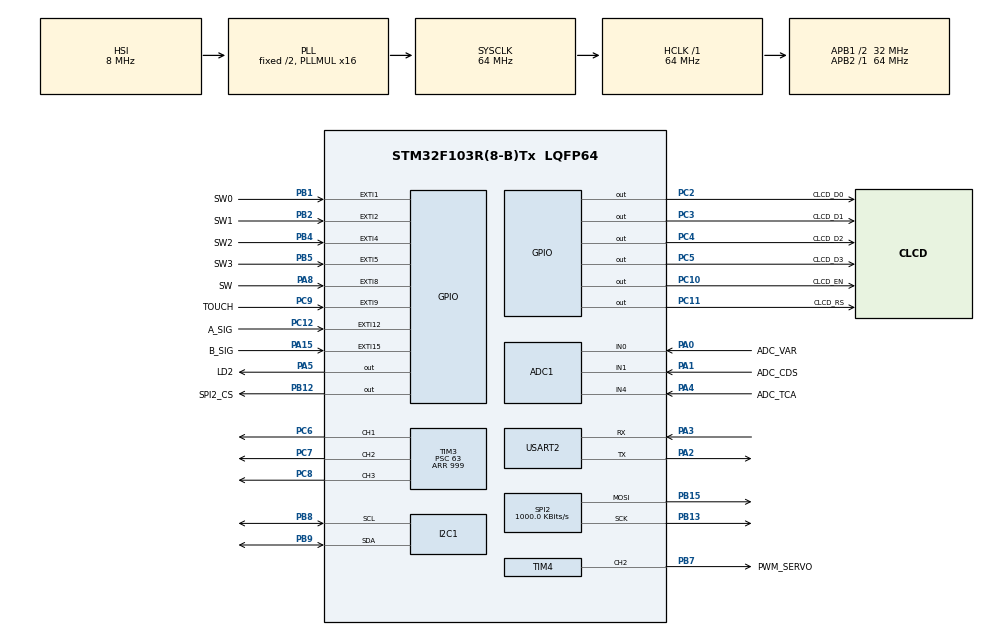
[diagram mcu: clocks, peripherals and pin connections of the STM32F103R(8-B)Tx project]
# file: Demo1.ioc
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ADC1.Channel-1\#ChannelRegularConversion=ADC_CHANNEL_0
ADC1.Channel-2\#ChannelRegularConversion=ADC_CHANNEL_1
ADC1.Channel-3\#ChannelRegularConversion=ADC_CHANNEL_4
ADC1.ContinuousConvMode=ENABLE
ADC1.NbrOfConversion=3
ADC1.NbrOfConversionFlag=1
ADC1.Rank-1\#ChannelRegularConversion=1
ADC1.Rank-2\#ChannelRegularConversion=2
ADC1.Rank-3\#ChannelRegularConversion=3
ADC1.SamplingTime-1\#ChannelRegularConversion=ADC_SAMPLETIME_239CYCLES_5
ADC1.SamplingTime-2\#ChannelRegularConversion=ADC_SAMPLETIME_239CYCLES_5
ADC1.SamplingTime-3\#ChannelRegularConversion=ADC_SAMPLETIME_239CYCLES_5
ADC1.master=1
Dma.ADC1.0.Direction=DMA_PERIPH_TO_MEMORY
Dma.ADC1.0.Instance=DMA1_Channel1
Dma.ADC1.0.MemDataAlignment=DMA_MDATAALIGN_HALFWORD
Dma.ADC1.0.MemInc=DMA_MINC_ENABLE
Dma.ADC1.0.Mode=DMA_CIRCULAR
Dma.ADC1.0.PeriphDataAlignment=DMA_PDATAALIGN_HALFWORD
Dma.ADC1.0.PeriphInc=DMA_PINC_DISABLE
Dma.ADC1.0.Priority=DMA_PRIORITY_LOW
Dma.Request0=ADC1
I2C1.I2C_Mode=I2C_Fast
Mcu.Family=STM32F1
Mcu.Name=STM32F103R(8-B)Tx
Mcu.Package=LQFP64
NVIC.DMA1_Channel1_IRQn=true\:0\:0\:false\:false\:true\:false\:true
NVIC.EXTI15_10_IRQn=true\:0\:0\:false\:false\:true\:true\:true
NVIC.EXTI1_IRQn=true\:0\:0\:false\:false\:true\:true\:true
NVIC.EXTI2_IRQn=true\:0\:0\:false\:false\:true\:true\:true
NVIC.EXTI4_IRQn=true\:0\:0\:false\:false\:true\:true\:true
NVIC.EXTI9_5_IRQn=true\:0\:0\:false\:false\:true\:true\:true
NVIC.PriorityGroup=NVIC_PRIORITYGROUP_4
PA0-WKUP.GPIO_Label=ADC_VAR
PA0-WKUP.Signal=ADCx_IN0
PA1.GPIO_Label=ADC_CDS
PA1.Signal=ADCx_IN1
PA13.Mode=Serial_Wire
PA13.Signal=SYS_JTMS-SWDIO
PA14.Mode=Serial_Wire
PA14.Signal=SYS_JTCK-SWCLK
PA15.GPIO_Label=B_SIG
PA15.Signal=GPXTI15
PA2.Mode=Asynchronous
PA2.Signal=USART2_TX
PA3.Mode=Asynchronous
PA3.Signal=USART2_RX
PA4.GPIO_Label=ADC_TCA
PA4.Signal=ADCx_IN4
PA5.GPIO_Label=LD2
PA5.Signal=GPIO_Output
PA8.GPIO_Label=SW
PA8.GPIO_ModeDefaultEXTI=GPIO_MODE_IT_FALLING
PA8.Signal=GPXTI8
PB1.GPIO_Label=SW0
PB1.Signal=GPXTI1
PB12.GPIO_Label=SPI2_CS
PB12.Signal=GPIO_Output
PB13.Mode=TX_Only_Simplex_Unidirect_Master
PB13.Signal=SPI2_SCK
PB15.Mode=TX_Only_Simplex_Unidirect_Master
PB15.Signal=SPI2_MOSI
PB2.GPIO_Label=SW1
PB2.Signal=GPXTI2
PB4.GPIO_Label=SW2
PB4.Signal=GPXTI4
PB5.GPIO_Label=SW3
PB5.Signal=GPXTI5
PB7.GPIO_Label=PWM_SERVO
PB7.Signal=S_TIM4_CH2
PB8.Mode=I2C
PB8.Signal=I2C1_SCL
PB9.Mode=I2C
PB9.Signal=I2C1_SDA
PC10.GPIO_Label=CLCD_EN
PC10.Signal=GPIO_Output
PC11.GPIO_Label=CLCD_RS
PC11.Signal=GPIO_Output
PC12.GPIO_Label=A_SIG
PC12.Signal=GPXTI12
PC2.GPIO_Label=CLCD_D0
PC2.Signal=GPIO_Output
PC3.GPIO_Label=CLCD_D1
PC3.Signal=GPIO_Output
PC4.GPIO_Label=CLCD_D2
PC4.Signal=GPIO_Output
PC5.GPIO_Label=CLCD_D3
PC5.Signal=GPIO_Output
PC6.Signal=S_TIM3_CH1
PC7.Signal=S_TIM3_CH2
PC8.Signal=S_TIM3_CH3
PC9.GPIO_Label=TOUCH
PC9.GPIO_ModeDefaultEXTI=GPIO_MODE_IT_RISING_FALLING
PC9.Signal=GPXTI9
ProjectManager.HeapSize=0x200
ProjectManager.StackSize=0x400
ProjectManager.TargetToolchain=STM32CubeIDE
RCC.ADCPresc=RCC_ADCPCLK2_DIV8
RCC.AHBFreq_Value=64000000
RCC.APB1CLKDivider=RCC_HCLK_DIV2
RCC.APB1Freq_Value=32000000
RCC.APB1TimFreq_Value=64000000
RCC.APB2Freq_Value=64000000
RCC.APB2TimFreq_Value=64000000
RCC.HCLKFreq_Value=64000000
RCC.PLLMUL=RCC_PLL_MUL16
RCC.SYSCLKFreq_VALUE=64000000
RCC.SYSCLKSource=RCC_SYSCLKSOURCE_PLLCLK
RCC.USBFreq_Value=64000000
SH.ADCx_IN0.0=ADC1_IN0,IN0
SH.ADCx_IN1.0=ADC1_IN1,IN1
SH.ADCx_IN4.0=ADC1_IN4,IN4
SH.S_TIM3_CH1.0=TIM3_CH1,PWM Generation1 CH1
SH.S_TIM3_CH2.0=TIM3_CH2,PWM Generation2 CH2
SH.S_TIM3_CH3.0=TIM3_CH3,PWM Generation3 CH3
SH.S_TIM4_CH2.0=TIM4_CH2,PWM Generation2 CH2
SPI2.BaudRatePrescaler=SPI_BAUDRATEPRESCALER_32
SPI2.CLKPhase=SPI_PHASE_2EDGE
SPI2.CalculateBaudRate=1000.0 KBits/s
SPI2.Direction=SPI_DIRECTION_2LINES
SPI2.Mode=SPI_MODE_MASTER
SPI2.VirtualType=VM_MASTER
TIM3.Channel-PWM\ Generation1\ CH1=TIM_CHANNEL_1
TIM3.Channel-PWM\ Generation2\ CH2=TIM_CHANNEL_2
TIM3.Channel-PWM\ Generation3\ CH3=TIM_CHANNEL_3
TIM3.Period=999
TIM3.Prescaler=63
TIM4.Channel-PWM\ Generation2\ CH2=TIM_CHANNEL_2
TIM4.OCPolarity_2=TIM_OCPOLARITY_LOW
TIM4.Period=19999
TIM4.Prescaler=63
TIM4.Pulse-PWM\ Generation2\ CH2=1500
USART2.VirtualMode=VM_ASYNC
VP_TIM3_VS_ClockSourceINT.Mode=Internal
VP_TIM4_VS_ClockSourceINT.Mode=Internal
board=custom

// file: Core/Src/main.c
/* USER CODE BEGIN Header */
/**
  ******************************************************************************
  * @file           : main.c
  * @brief          : Main program body
  ******************************************************************************
  * @attention
  *
  * <h2><center>&copy; Copyright (c) 2020 STMicroelectronics.
  * All rights reserved.</center></h2>
  *
  * This software component is licensed by ST under BSD 3-Clause license,
  * the "License"; You may not use this file except in compliance with the
  * License. You may obtain a copy of the License at:
  *                        opensource.org/licenses/BSD-3-Clause
  *
  ******************************************************************************
  */
/* USER CODE END Header */

#include "main.h"

/* USER CODE BEGIN Includes */
#include <stdio.h>    // for using printf()
#include <stdlib.h>   // for using atoi()
#include "hdc1080\hdc1080.h"
#include "clcd\clcd.h"
/* USER CODE END Includes */

ADC_HandleTypeDef hadc1;
DMA_HandleTypeDef hdma_adc1;

I2C_HandleTypeDef hi2c1;

SPI_HandleTypeDef hspi2;

TIM_HandleTypeDef htim3;
TIM_HandleTypeDef htim4;

UART_HandleTypeDef huart2;

/* USER CODE BEGIN PV */
volatile int gTouchCnt;
volatile int gEnCoderCnt;
volatile uint16_t gADCxConvertedValue[3];
volatile uint16_t gRGBPulse[3];
/* USER CODE END PV */

void SystemClock_Config(void);
static void MX_GPIO_Init(void);
static void MX_DMA_Init(void);
static void MX_ADC1_Init(void);
static void MX_I2C1_Init(void);
static void MX_SPI2_Init(void);
static void MX_TIM3_Init(void);
static void MX_TIM4_Init(void);
static void MX_USART2_UART_Init(void);

/* USER CODE BEGIN 0 */
// Porting to UART for serial debugging
#ifdef __GNUC__
/* With GCC, small printf (option LD Linker->Libraries->Small printf
   set to 'Yes') calls __io_putchar() */
#define PUTCHAR_PROTOTYPE int __io_putchar(int ch)
#else
#define PUTCHAR_PROTOTYPE int fputc(int ch, FILE *f)
#endif /* __GNUC__ */

/**
  * @brief  Retargets the C library printf function to the USART.
  * @param  None
  * @retval None
  */
PUTCHAR_PROTOTYPE
{
  /* Place your implementation of fputc here */
  /* e.g. write a character to the USART1 and Loop until the end of transmission */
  if (ch == '\n')
    HAL_UART_Transmit (&huart2, (uint8_t*) "\r", 1, 0xFFFF);
  HAL_UART_Transmit (&huart2, (uint8_t*) &ch, 1, 0xFFFF);

  return ch;
}

// DAC7512 Write Func
uint8_t
DAC7512_write (unsigned short data)
{
  uint8_t buff[2], ret;

  HAL_GPIO_WritePin (SPI2_CS_GPIO_Port, SPI2_CS_Pin, GPIO_PIN_RESET);

  buff[0] = (uint8_t) (data >> 8);
  buff[1] = (uint8_t) data;

  ret = HAL_SPI_Transmit (&hspi2, buff, 2, 1000);

  if (ret)
    return ret;

  HAL_GPIO_WritePin (SPI2_CS_GPIO_Port, SPI2_CS_Pin, GPIO_PIN_SET);

  return 0;
}
/* USER CODE END 0 */

int main(void)
{
  /* USER CODE BEGIN 1 */
  uint8_t hdc_humi, bat_stat;
  uint16_t I2C_id;
  float hdc_temp, tc_temp;
  char sBuf[17]  =  { 0 };
  char rgb[3][4] =  { 0 };
  int servo_pulse = 0, count = 0;

  /* USER CODE END 1 */

  /* MCU Configuration--------------------------------------------------------*/

  /* Reset of all peripherals, Initializes the Flash interface and the Systick. */
  HAL_Init();

  /* Configure the system clock */
  SystemClock_Config();

  /* Initialize all configured peripherals */
  MX_GPIO_Init();
  MX_DMA_Init();
  MX_ADC1_Init();
  MX_I2C1_Init();
  MX_SPI2_Init();
  MX_TIM3_Init();
  MX_TIM4_Init();
  MX_USART2_UART_Init();
  /* USER CODE BEGIN 2 */
  /* Start ADC Calibration */
  if (HAL_ADCEx_Calibration_Start (&hadc1) != HAL_OK)
    {
      Error_Handler ();
    }
  printf ("ADC Calibration Done!\n");

  /* Start ADC in DMA mode,
   *
   * ADC Rank1 - VAR,
   *     Rank2 - CDS,
   *     Rank3 - TC1047
   */
  if (HAL_ADC_Start_DMA (&hadc1, (uint32_t*) &gADCxConvertedValue, 3) != HAL_OK)
    {
      Error_Handler ();
    }
  printf ("Start ADC in DMA Mode\n");

  /* HDC1080 id read to I2C */
  HAL_Delay(50);
  hdc1080_read_reg (&hi2c1, HDC1080_ID_DEV, &I2C_id);
  printf ("\nHDC1080's ID = %X\n", I2C_id);

  /* Init HDC1080 */
  hdc1080_init (&hi2c1, HDC1080_T_RES_14, HDC1080_RH_RES_14, 1, &bat_stat);
  printf ("I2C Initialization Done!\n");

  /* TIM4 PWM start for Servo */
  HAL_TIM_PWM_Start (&htim4, TIM_CHANNEL_2);

  /* TIM3 PWM start for RGB LED */
  HAL_TIM_PWM_Start (&htim3, TIM_CHANNEL_1);
  HAL_TIM_PWM_Start (&htim3, TIM_CHANNEL_2);
  HAL_TIM_PWM_Start (&htim3, TIM_CHANNEL_3);
  printf ("Start PWM for Servo & RGB LED\n");

  /* Init LCD */
  CLCD_Init (16, 2);
  printf ("CLCD Initialization Done!\n");

  /* USER CODE END 2 */

  /* Infinite loop */
  /* USER CODE BEGIN WHILE */
  gTouchCnt = 0;
  printf ("\nDemo1 Start!!\n");
  printf ("Screen %d\n", gTouchCnt + 1);
  while (1)
    {
      /* Switch CLCD Screen */
      switch (gTouchCnt)
        {
        case 0: // Screen 1
          /* VAR value */
          sprintf (sBuf, "VAR Value: %5d", gADCxConvertedValue[0]);
          CLCD_Puts (0, 0, sBuf);

          /* CDS value */
          sprintf (sBuf, "CDS Value: %5d", gADCxConvertedValue[1]);
          CLCD_Puts (0, 1, sBuf);
          break;

        case 1: // Screen 2
          /* convert TC1047's raw data to temperature
           *
           * Temp = (ADC value * 3.3 / 4096 * 1000 - 500) / 10
           */
          tc_temp = (float) (((gADCxConvertedValue[2] * 3.3 / 4096 * 1000) - 500) / 10);
          sprintf (sBuf, "TC1047: %7.2f", tc_temp);
          CLCD_Puts (0, 0, sBuf);

          /* measure HDC1080's temperature and humidity */
          hdc1080_measure (&hi2c1, &hdc_temp, &hdc_humi);
          sprintf (sBuf, "HDC: %6.2f, %3d", hdc_temp, hdc_humi);
          CLCD_Puts (0, 1, sBuf);
          break;

        case 2: // Screen 3
          /* convert VAR's raw data to servo's pulse
           *
           * VAR Range : 0 ~ 4095 (12bit)
           * Servo pulse Range : 1000 ~ 2000 (Position is -90 to 90 degree)
           *
           * Servo pulse = VAR ADC value * 1000 / 4095 + 1000
           */
          servo_pulse = ((int) ((gADCxConvertedValue[0] * 1000) / 4095)) + 1000;
          __HAL_TIM_SET_COMPARE(&htim4, TIM_CHANNEL_2, servo_pulse);
          sprintf (sBuf, "Servo: %9d", servo_pulse);
          CLCD_Puts (0, 0, sBuf);

          /* Encoder Count */
          sprintf (sBuf, "Encoder: %7d", gEnCoderCnt);
          CLCD_Puts (0, 1, sBuf);
          break;

        case 3: // Screen 4
          /* DAC Write VAR value */
          DAC7512_write (gADCxConvertedValue[0]);
          sprintf (sBuf, "DAC Value: %5d", gADCxConvertedValue[0]);
          CLCD_Puts (0, 0, sBuf);

          /* Convert RGB pulse int to char */
          itoa (gRGBPulse[0], rgb[0], 10);
          itoa (gRGBPulse[1], rgb[1], 10);
          itoa (gRGBPulse[2], rgb[2], 10);
          sprintf (sBuf, "RGB: %3s,%3s,%3s", gRGBPulse[0] != 1000 ? rgb[0] : "MAX",
                   gRGBPulse[1] != 1000 ? rgb[1] : "MAX", gRGBPulse[2] != 1000 ? rgb[2] : "MAX");
          CLCD_Puts (0, 1, sBuf);
          break;

        default:
          Error_Handler ();
          break;
        }

      /* Toggle LED in 500ms */
      if (count++ > 4)
        {
          count = 0;
          HAL_GPIO_TogglePin (LD2_GPIO_Port, LD2_Pin);
        }

      HAL_Delay (100);
    /* USER CODE END WHILE */

  }
}

void SystemClock_Config(void)
{
  RCC_OscInitTypeDef RCC_OscInitStruct = {0};
  RCC_ClkInitTypeDef RCC_ClkInitStruct = {0};
  RCC_PeriphCLKInitTypeDef PeriphClkInit = {0};

  /** Initializes the CPU, AHB and APB busses clocks
  */
  RCC_OscInitStruct.OscillatorType = RCC_OSCILLATORTYPE_HSI;
  RCC_OscInitStruct.HSIState = RCC_HSI_ON;
  RCC_OscInitStruct.HSICalibrationValue = RCC_HSICALIBRATION_DEFAULT;
  RCC_OscInitStruct.PLL.PLLState = RCC_PLL_ON;
  RCC_OscInitStruct.PLL.PLLSource = RCC_PLLSOURCE_HSI_DIV2;
  RCC_OscInitStruct.PLL.PLLMUL = RCC_PLL_MUL16;
  if (HAL_RCC_OscConfig(&RCC_OscInitStruct) != HAL_OK)
  {
    Error_Handler();
  }
  /** Initializes the CPU, AHB and APB busses clocks
  */
  RCC_ClkInitStruct.ClockType = RCC_CLOCKTYPE_HCLK|RCC_CLOCKTYPE_SYSCLK
                              |RCC_CLOCKTYPE_PCLK1|RCC_CLOCKTYPE_PCLK2;
  RCC_ClkInitStruct.SYSCLKSource = RCC_SYSCLKSOURCE_PLLCLK;
  RCC_ClkInitStruct.AHBCLKDivider = RCC_SYSCLK_DIV1;
  RCC_ClkInitStruct.APB1CLKDivider = RCC_HCLK_DIV2;
  RCC_ClkInitStruct.APB2CLKDivider = RCC_HCLK_DIV1;

  if (HAL_RCC_ClockConfig(&RCC_ClkInitStruct, FLASH_LATENCY_2) != HAL_OK)
  {
    Error_Handler();
  }
  PeriphClkInit.PeriphClockSelection = RCC_PERIPHCLK_ADC;
  PeriphClkInit.AdcClockSelection = RCC_ADCPCLK2_DIV8;
  if (HAL_RCCEx_PeriphCLKConfig(&PeriphClkInit) != HAL_OK)
  {
    Error_Handler();
  }
}

static void MX_ADC1_Init(void)
{

  ADC_ChannelConfTypeDef sConfig = {0};

  /** Common config
  */
  hadc1.Instance = ADC1;
  hadc1.Init.ScanConvMode = ADC_SCAN_ENABLE;
  hadc1.Init.ContinuousConvMode = ENABLE;
  hadc1.Init.DiscontinuousConvMode = DISABLE;
  hadc1.Init.ExternalTrigConv = ADC_SOFTWARE_START;
  hadc1.Init.DataAlign = ADC_DATAALIGN_RIGHT;
  hadc1.Init.NbrOfConversion = 3;
  if (HAL_ADC_Init(&hadc1) != HAL_OK)
  {
    Error_Handler();
  }
  /** Configure Regular Channel
  */
  sConfig.Channel = ADC_CHANNEL_0;
  sConfig.Rank = ADC_REGULAR_RANK_1;
  sConfig.SamplingTime = ADC_SAMPLETIME_239CYCLES_5;
  if (HAL_ADC_ConfigChannel(&hadc1, &sConfig) != HAL_OK)
  {
    Error_Handler();
  }
  /** Configure Regular Channel
  */
  sConfig.Channel = ADC_CHANNEL_1;
  sConfig.Rank = ADC_REGULAR_RANK_2;
  if (HAL_ADC_ConfigChannel(&hadc1, &sConfig) != HAL_OK)
  {
    Error_Handler();
  }
  /** Configure Regular Channel
  */
  sConfig.Channel = ADC_CHANNEL_4;
  sConfig.Rank = ADC_REGULAR_RANK_3;
  if (HAL_ADC_ConfigChannel(&hadc1, &sConfig) != HAL_OK)
  {
    Error_Handler();
  }

}

static void MX_I2C1_Init(void)
{

  hi2c1.Instance = I2C1;
  hi2c1.Init.ClockSpeed = 400000;
  hi2c1.Init.DutyCycle = I2C_DUTYCYCLE_2;
  hi2c1.Init.OwnAddress1 = 0;
  hi2c1.Init.AddressingMode = I2C_ADDRESSINGMODE_7BIT;
  hi2c1.Init.DualAddressMode = I2C_DUALADDRESS_DISABLE;
  hi2c1.Init.OwnAddress2 = 0;
  hi2c1.Init.GeneralCallMode = I2C_GENERALCALL_DISABLE;
  hi2c1.Init.NoStretchMode = I2C_NOSTRETCH_DISABLE;
  if (HAL_I2C_Init(&hi2c1) != HAL_OK)
  {
    Error_Handler();
  }

}

static void MX_SPI2_Init(void)
{

  /* SPI2 parameter configuration*/
  hspi2.Instance = SPI2;
  hspi2.Init.Mode = SPI_MODE_MASTER;
  hspi2.Init.Direction = SPI_DIRECTION_2LINES;
  hspi2.Init.DataSize = SPI_DATASIZE_8BIT;
  hspi2.Init.CLKPolarity = SPI_POLARITY_LOW;
  hspi2.Init.CLKPhase = SPI_PHASE_2EDGE;
  hspi2.Init.NSS = SPI_NSS_SOFT;
  hspi2.Init.BaudRatePrescaler = SPI_BAUDRATEPRESCALER_32;
  hspi2.Init.FirstBit = SPI_FIRSTBIT_MSB;
  hspi2.Init.TIMode = SPI_TIMODE_DISABLE;
  hspi2.Init.CRCCalculation = SPI_CRCCALCULATION_DISABLE;
  hspi2.Init.CRCPolynomial = 10;
  if (HAL_SPI_Init(&hspi2) != HAL_OK)
  {
    Error_Handler();
  }

}

static void MX_TIM3_Init(void)
{

  TIM_ClockConfigTypeDef sClockSourceConfig = {0};
  TIM_MasterConfigTypeDef sMasterConfig = {0};
  TIM_OC_InitTypeDef sConfigOC = {0};

  htim3.Instance = TIM3;
  htim3.Init.Prescaler = 63;
  htim3.Init.CounterMode = TIM_COUNTERMODE_UP;
  htim3.Init.Period = 999;
  htim3.Init.ClockDivision = TIM_CLOCKDIVISION_DIV1;
  htim3.Init.AutoReloadPreload = TIM_AUTORELOAD_PRELOAD_DISABLE;
  if (HAL_TIM_Base_Init(&htim3) != HAL_OK)
  {
    Error_Handler();
  }
  sClockSourceConfig.ClockSource = TIM_CLOCKSOURCE_INTERNAL;
  if (HAL_TIM_ConfigClockSource(&htim3, &sClockSourceConfig) != HAL_OK)
  {
    Error_Handler();
  }
  if (HAL_TIM_PWM_Init(&htim3) != HAL_OK)
  {
    Error_Handler();
  }
  sMasterConfig.MasterOutputTrigger = TIM_TRGO_RESET;
  sMasterConfig.MasterSlaveMode = TIM_MASTERSLAVEMODE_DISABLE;
  if (HAL_TIMEx_MasterConfigSynchronization(&htim3, &sMasterConfig) != HAL_OK)
  {
    Error_Handler();
  }
  sConfigOC.OCMode = TIM_OCMODE_PWM1;
  sConfigOC.Pulse = 0;
  sConfigOC.OCPolarity = TIM_OCPOLARITY_HIGH;
  sConfigOC.OCFastMode = TIM_OCFAST_DISABLE;
  if (HAL_TIM_PWM_ConfigChannel(&htim3, &sConfigOC, TIM_CHANNEL_1) != HAL_OK)
  {
    Error_Handler();
  }
  if (HAL_TIM_PWM_ConfigChannel(&htim3, &sConfigOC, TIM_CHANNEL_2) != HAL_OK)
  {
    Error_Handler();
  }
  if (HAL_TIM_PWM_ConfigChannel(&htim3, &sConfigOC, TIM_CHANNEL_3) != HAL_OK)
  {
    Error_Handler();
  }
  HAL_TIM_MspPostInit(&htim3);

}

static void MX_TIM4_Init(void)
{

  TIM_ClockConfigTypeDef sClockSourceConfig = {0};
  TIM_MasterConfigTypeDef sMasterConfig = {0};
  TIM_OC_InitTypeDef sConfigOC = {0};

  htim4.Instance = TIM4;
  htim4.Init.Prescaler = 63;
  htim4.Init.CounterMode = TIM_COUNTERMODE_UP;
  htim4.Init.Period = 19999;
  htim4.Init.ClockDivision = TIM_CLOCKDIVISION_DIV1;
  htim4.Init.AutoReloadPreload = TIM_AUTORELOAD_PRELOAD_DISABLE;
  if (HAL_TIM_Base_Init(&htim4) != HAL_OK)
  {
    Error_Handler();
  }
  sClockSourceConfig.ClockSource = TIM_CLOCKSOURCE_INTERNAL;
  if (HAL_TIM_ConfigClockSource(&htim4, &sClockSourceConfig) != HAL_OK)
  {
    Error_Handler();
  }
  if (HAL_TIM_PWM_Init(&htim4) != HAL_OK)
  {
    Error_Handler();
  }
  sMasterConfig.MasterOutputTrigger = TIM_TRGO_RESET;
  sMasterConfig.MasterSlaveMode = TIM_MASTERSLAVEMODE_DISABLE;
  if (HAL_TIMEx_MasterConfigSynchronization(&htim4, &sMasterConfig) != HAL_OK)
  {
    Error_Handler();
  }
  sConfigOC.OCMode = TIM_OCMODE_PWM1;
  sConfigOC.Pulse = 1500;
  sConfigOC.OCPolarity = TIM_OCPOLARITY_LOW;
  sConfigOC.OCFastMode = TIM_OCFAST_DISABLE;
  if (HAL_TIM_PWM_ConfigChannel(&htim4, &sConfigOC, TIM_CHANNEL_2) != HAL_OK)
  {
    Error_Handler();
  }
  HAL_TIM_MspPostInit(&htim4);

}

static void MX_USART2_UART_Init(void)
{

  huart2.Instance = USART2;
  huart2.Init.BaudRate = 115200;
  huart2.Init.WordLength = UART_WORDLENGTH_8B;
  huart2.Init.StopBits = UART_STOPBITS_1;
  huart2.Init.Parity = UART_PARITY_NONE;
  huart2.Init.Mode = UART_MODE_TX_RX;
  huart2.Init.HwFlowCtl = UART_HWCONTROL_NONE;
  huart2.Init.OverSampling = UART_OVERSAMPLING_16;
  if (HAL_UART_Init(&huart2) != HAL_OK)
  {
    Error_Handler();
  }

}

static void MX_DMA_Init(void)
{

  /* DMA controller clock enable */
  __HAL_RCC_DMA1_CLK_ENABLE();

  /* DMA interrupt init */
  /* DMA1_Channel1_IRQn interrupt configuration */
  HAL_NVIC_SetPriority(DMA1_Channel1_IRQn, 0, 0);
  HAL_NVIC_EnableIRQ(DMA1_Channel1_IRQn);

}

static void MX_GPIO_Init(void)
{
  GPIO_InitTypeDef GPIO_InitStruct = {0};

  /* GPIO Ports Clock Enable */
  __HAL_RCC_GPIOC_CLK_ENABLE();
  __HAL_RCC_GPIOA_CLK_ENABLE();
  __HAL_RCC_GPIOB_CLK_ENABLE();

  /*Configure GPIO pin Output Level */
  HAL_GPIO_WritePin(GPIOC, CLCD_D0_Pin|CLCD_D1_Pin|CLCD_D2_Pin|CLCD_D3_Pin
                          |CLCD_EN_Pin|CLCD_RS_Pin, GPIO_PIN_RESET);

  /*Configure GPIO pin Output Level */
  HAL_GPIO_WritePin(LD2_GPIO_Port, LD2_Pin, GPIO_PIN_RESET);

  /*Configure GPIO pin Output Level */
  HAL_GPIO_WritePin(SPI2_CS_GPIO_Port, SPI2_CS_Pin, GPIO_PIN_RESET);

  /*Configure GPIO pins : CLCD_D0_Pin CLCD_D1_Pin CLCD_D2_Pin CLCD_D3_Pin
                           CLCD_EN_Pin CLCD_RS_Pin */
  GPIO_InitStruct.Pin = CLCD_D0_Pin|CLCD_D1_Pin|CLCD_D2_Pin|CLCD_D3_Pin
                          |CLCD_EN_Pin|CLCD_RS_Pin;
  GPIO_InitStruct.Mode = GPIO_MODE_OUTPUT_PP;
  GPIO_InitStruct.Pull = GPIO_NOPULL;
  GPIO_InitStruct.Speed = GPIO_SPEED_FREQ_LOW;
  HAL_GPIO_Init(GPIOC, &GPIO_InitStruct);

  /*Configure GPIO pin : LD2_Pin */
  GPIO_InitStruct.Pin = LD2_Pin;
  GPIO_InitStruct.Mode = GPIO_MODE_OUTPUT_PP;
  GPIO_InitStruct.Pull = GPIO_NOPULL;
  GPIO_InitStruct.Speed = GPIO_SPEED_FREQ_LOW;
  HAL_GPIO_Init(LD2_GPIO_Port, &GPIO_InitStruct);

  /*Configure GPIO pins : SW0_Pin SW1_Pin SW2_Pin SW3_Pin */
  GPIO_InitStruct.Pin = SW0_Pin|SW1_Pin|SW2_Pin|SW3_Pin;
  GPIO_InitStruct.Mode = GPIO_MODE_IT_RISING;
  GPIO_InitStruct.Pull = GPIO_NOPULL;
  HAL_GPIO_Init(GPIOB, &GPIO_InitStruct);

  /*Configure GPIO pin : SPI2_CS_Pin */
  GPIO_InitStruct.Pin = SPI2_CS_Pin;
  GPIO_InitStruct.Mode = GPIO_MODE_OUTPUT_PP;
  GPIO_InitStruct.Pull = GPIO_NOPULL;
  GPIO_InitStruct.Speed = GPIO_SPEED_FREQ_LOW;
  HAL_GPIO_Init(SPI2_CS_GPIO_Port, &GPIO_InitStruct);

  /*Configure GPIO pin : TOUCH_Pin */
  GPIO_InitStruct.Pin = TOUCH_Pin;
  GPIO_InitStruct.Mode = GPIO_MODE_IT_RISING_FALLING;
  GPIO_InitStruct.Pull = GPIO_NOPULL;
  HAL_GPIO_Init(TOUCH_GPIO_Port, &GPIO_InitStruct);

  /*Configure GPIO pin : SW_Pin */
  GPIO_InitStruct.Pin = SW_Pin;
  GPIO_InitStruct.Mode = GPIO_MODE_IT_FALLING;
  GPIO_InitStruct.Pull = GPIO_NOPULL;
  HAL_GPIO_Init(SW_GPIO_Port, &GPIO_InitStruct);

  /*Configure GPIO pin : B_SIG_Pin */
  GPIO_InitStruct.Pin = B_SIG_Pin;
  GPIO_InitStruct.Mode = GPIO_MODE_IT_RISING;
  GPIO_InitStruct.Pull = GPIO_NOPULL;
  HAL_GPIO_Init(B_SIG_GPIO_Port, &GPIO_InitStruct);

  /*Configure GPIO pin : A_SIG_Pin */
  GPIO_InitStruct.Pin = A_SIG_Pin;
  GPIO_InitStruct.Mode = GPIO_MODE_IT_RISING;
  GPIO_InitStruct.Pull = GPIO_NOPULL;
  HAL_GPIO_Init(A_SIG_GPIO_Port, &GPIO_InitStruct);

  /* EXTI interrupt init*/
  HAL_NVIC_SetPriority(EXTI1_IRQn, 0, 0);
  HAL_NVIC_EnableIRQ(EXTI1_IRQn);

  HAL_NVIC_SetPriority(EXTI2_IRQn, 0, 0);
  HAL_NVIC_EnableIRQ(EXTI2_IRQn);

  HAL_NVIC_SetPriority(EXTI4_IRQn, 0, 0);
  HAL_NVIC_EnableIRQ(EXTI4_IRQn);

  HAL_NVIC_SetPriority(EXTI9_5_IRQn, 0, 0);
  HAL_NVIC_EnableIRQ(EXTI9_5_IRQn);

  HAL_NVIC_SetPriority(EXTI15_10_IRQn, 0, 0);
  HAL_NVIC_EnableIRQ(EXTI15_10_IRQn);

}

/* USER CODE BEGIN 4 */
void
HAL_GPIO_EXTI_Callback (uint16_t GPIO_Pin)
{
  switch (GPIO_Pin)
    {
    case GPIO_PIN_1: // SW0 for RGB LED Red
      if (gRGBPulse[0] < 1000)
        gRGBPulse[0] += 200;
      else
        gRGBPulse[0] = 0;

      __HAL_TIM_SET_COMPARE(&htim3, TIM_CHANNEL_2, gRGBPulse[0]);
      break;

    case GPIO_PIN_2: // SW1 for RGB LED Green
      if (gRGBPulse[1] < 1000)
        gRGBPulse[1] += 200;
      else
        gRGBPulse[1] = 0;

      __HAL_TIM_SET_COMPARE(&htim3, TIM_CHANNEL_3, gRGBPulse[1]);
      break;

    case GPIO_PIN_4: // SW2 for RGB LED Blue
      if (gRGBPulse[2] < 1000)
        gRGBPulse[2] += 200;
      else
        gRGBPulse[2] = 0;

      __HAL_TIM_SET_COMPARE(&htim3, TIM_CHANNEL_1, gRGBPulse[2]);
      break;

    case GPIO_PIN_5: // SW3 for RGB LED Reset
      gRGBPulse[0] = 0;
      gRGBPulse[1] = 0;
      gRGBPulse[2] = 0;
      __HAL_TIM_SET_COMPARE(&htim3, TIM_CHANNEL_1, gRGBPulse[0]);
      __HAL_TIM_SET_COMPARE(&htim3, TIM_CHANNEL_2, gRGBPulse[1]);
      __HAL_TIM_SET_COMPARE(&htim3, TIM_CHANNEL_3, gRGBPulse[2]);
      break;

    case GPIO_PIN_9: // Touch Sensor
      if (gTouchCnt < 3) // Increase and loop gTouchCnt from 0 to 3
        gTouchCnt++;
      else
        gTouchCnt = 0;
      printf ("LCD Screen Changed, \nScreen %d\n", gTouchCnt + 1);
      break;

    case GPIO_PIN_8: // Encoder SW
      gEnCoderCnt = 0;
      break;

    case GPIO_PIN_12: // Encoder A_SIG
      if (!HAL_GPIO_ReadPin (B_SIG_GPIO_Port, B_SIG_Pin))
        gEnCoderCnt++;
      break;

    case GPIO_PIN_15: // Encoder B_SIG
      if (!HAL_GPIO_ReadPin (A_SIG_GPIO_Port, A_SIG_Pin))
        gEnCoderCnt--;
      break;
    }
}
/* USER CODE END 4 */

void Error_Handler(void)
{
  /* USER CODE BEGIN Error_Handler_Debug */
  /* User can add his own implementation to report the HAL error return state */
  HAL_GPIO_WritePin (LD2_GPIO_Port, LD2_Pin, GPIO_PIN_SET);
  while (1)
    ;

  /* USER CODE END Error_Handler_Debug */
}

/************************ (C) COPYRIGHT STMicroelectronics *****END OF FILE****/
